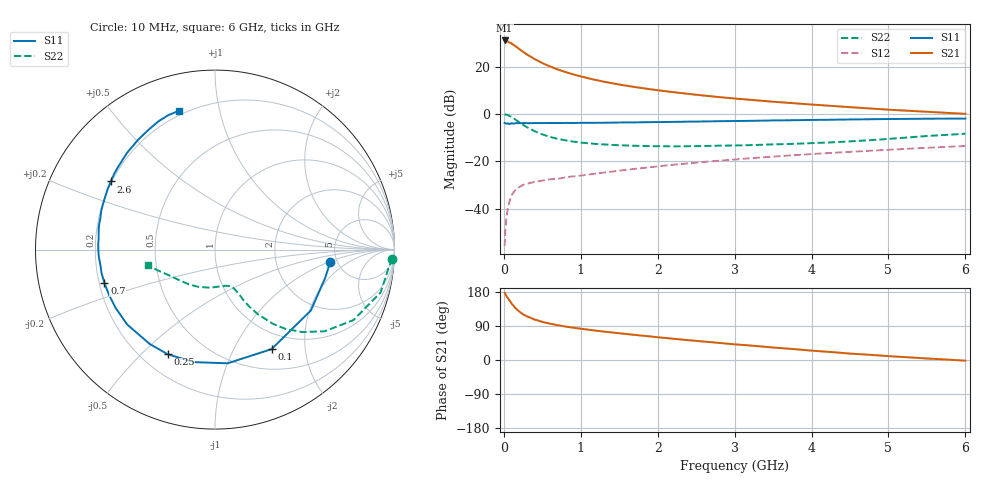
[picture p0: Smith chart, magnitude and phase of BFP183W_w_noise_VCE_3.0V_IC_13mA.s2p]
! Infineon Technologies  Discrete & RF Semiconductors
! BFP183W
! VCE =  3.0 V,  IC =  13 mA
! Common Emitter S-Parameters:  Jan 2017
# GHz  S  MA  R  50
!  f  S11  S21  S12  S22
! GHz  MAG  ANG  MAG  ANG  MAG  ANG  MAG  ANG
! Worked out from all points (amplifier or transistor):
!   77 points, 10 MHz to 6 GHz, reference 50 ohm
!   highest |S21| = 31.1 dB at 10 MHz (marker M1)
!   |S21| within 3 dB of that: start of sweep to 174.6 MHz
!   unconditionally stable (mu >= 1): 1.404 GHz to 3.918 GHz
!   at 130 MHz: K = 0.18, MSG = 31.1 dB, |S12| = -33.0 dB
!   at 2.2 GHz: K = 1.07, MAG = 13.8 dB, |S12| = -21.5 dB
!   at 6 GHz: K = 0.88, MSG = 6.8 dB, |S12| = -13.5 dB
!   lowest NFmin = 1.01 dB at 450 MHz
!   S11 on the Smith chart (normalised r, x): 10 MHz: 4.41, -1.01; 100 MHz: 0.76, -1.43; 250 MHz: 0.30, -0.60; 700 MHz: 0.22, -0.14; 2.6 GHz: 0.20, +0.29; 6 GHz: 0.18, +0.76
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0.01  0.6464 -5.9  35.79 177.5  0.0016 95.4  0.99 -2.9
0.02  0.6338 -14.4  35.42 173.3  0.0036 94.9  0.9733 -5.9
0.05  0.6328 -32.4  34.17 163.7  0.0097 77.0  0.9532 -14.5
0.1  0.6377 -60.4  30.97 149.0  0.0189 65.1  0.8657 -27.0
0.15  0.6374 -83.6  27.16 137.3  0.0247 56.5  0.7614 -36.7
0.2  0.6383 -100.8  23.59 127.9  0.0283 50.1  0.6676 -43.5
0.25  0.6399 -114.4  20.6 120.6  0.0317 46.9  0.5881 -48.5
0.3  0.6393 -124.7  18.09 115.0  0.0334 43.0  0.5231 -52.1
0.4  0.6431 -139.5  14.45 106.6  0.0365 40.9  0.4301 -56.5
0.5  0.642 -149.6  11.9 100.6  0.039 40.3  0.3692 -59.0
0.6  0.6423 -157.3  10.1 95.8  0.0416 40.2  0.3274 -60.5
0.7  0.6433 -163.2  8.727 91.9  0.0425 41.6  0.2969 -61.2
0.9  0.6442 -172.6  6.862 85.3  0.0479 43.5  0.2605 -62.7
1.1  0.6502 -179.7  5.668 80.0  0.0524 46.5  0.2399 -64.1
1.3  0.6512 174.4  4.808 75.0  0.0576 47.7  0.2268 -66.0
1.5  0.6591 169.4  4.186 70.6  0.0633 49.8  0.2177 -68.7
2.1  0.6758 156.1  3.03 58.2  0.0809 51.7  0.2072 -79.9
2.6  0.6937 146.8  2.446 48.6  0.0966 52.2  0.2099 -91.9
3.1  0.7115 138.5  2.055 39.8  0.1121 51.1  0.2171 -104.3
4.1  0.7495 123.8  1.541 23.3  0.1449 47.4  0.2448 -129.4
5.1  0.783 112.9  1.205 9.0  0.1781 42.4  0.305 -153.6
6  0.7986 104.7  1.004 -1.8  0.2102 37.0  0.3815 -166.7
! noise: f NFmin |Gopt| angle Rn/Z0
0.45  1.01  0.12  144  0.1
0.9  1.04  0.19  155  0.09
1.9  1.52  0.38  -172  0.08
2.4  1.75  0.44  -164  0.1
